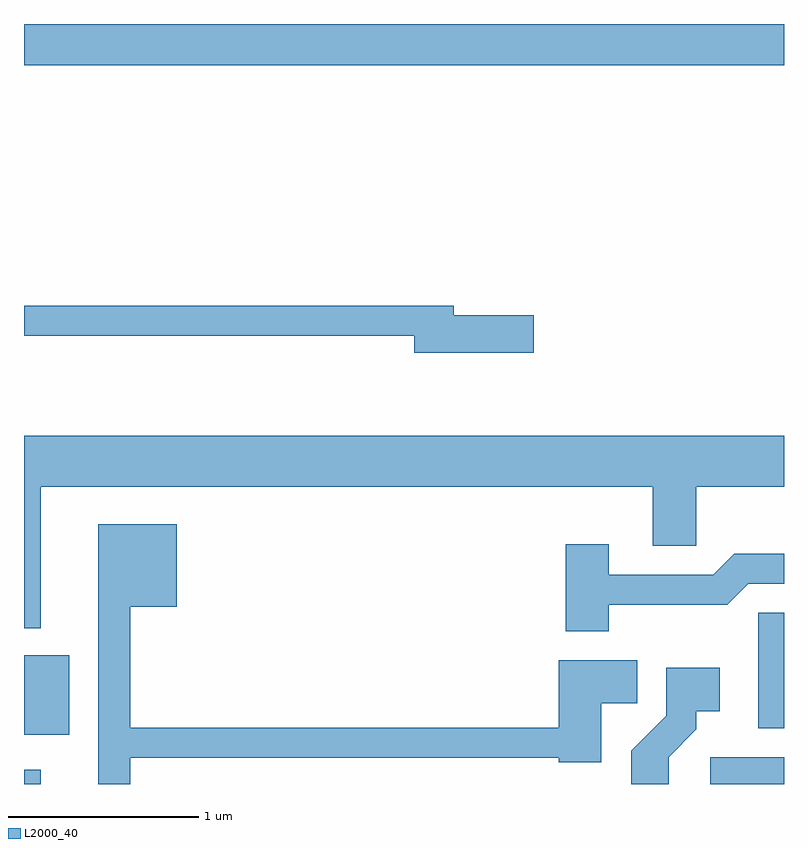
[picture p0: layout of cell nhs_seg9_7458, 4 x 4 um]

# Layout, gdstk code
import gdstk
lib = gdstk.Library(unit=1e-6, precision=1e-09)
def R(c, l, rs):  # rectangles x0, y0, x1, y1
    for r in rs: c.add(gdstk.rectangle(r[:2], r[2:], *l))
def P(c, l, *ps):  # polygons
    for p in ps: c.add(gdstk.Polygon(p, *l))
L2000_40 = (2000, 40)

nhs_seg9_7458 = lib.new_cell('nhs_seg9_7458')
R(nhs_seg9_7458, L2000_40, [(405.611,2032.432,405.699,2032.508), (409.223,2032.432,409.611,2032.574), (405.611,2032.691,405.849,2033.109), (409.476,2032.726,409.611,2033.334), (405.611,2036.216,409.611,2036.432)])
P(nhs_seg9_7458, L2000_40, [(408.294,2034.899),(407.874,2034.899),(407.874,2034.949),(405.611,2034.949),(405.611,2034.791),(407.666,2034.791),(407.666,2034.701),(408.294,2034.701)],
  [(405.699,2033.996),(408.921,2033.996),(408.921,2033.686),(409.149,2033.686),(409.149,2033.996),(409.611,2033.996),(409.611,2034.264),(405.611,2034.264),(405.611,2033.253),(405.699,2033.253)],
  [(406.169,2032.571),(408.426,2032.571),(408.426,2032.546),(408.649,2032.546),(408.649,2032.856),(408.839,2032.856),(408.839,2033.084),(408.426,2033.084),(408.426,2032.729),(406.169,2032.729),(406.169,2033.366),(406.414,2033.366),(406.414,2033.799),(406.001,2033.799),(406.001,2032.432),(406.169,2032.432)],
  [(408.689,2033.376),(409.312,2033.376),(409.422,2033.486),(409.611,2033.486),(409.611,2033.644),(409.349,2033.644),(409.239,2033.534),(408.689,2033.534),(408.689,2033.694),(408.461,2033.694),(408.461,2033.236),(408.689,2033.236)],
  [(409.004,2032.574),(409.149,2032.719),(409.149,2032.816),(409.274,2032.816),(409.274,2033.044),(408.991,2033.044),(408.991,2032.792),(408.806,2032.607),(408.806,2032.432),(409.004,2032.432)])

lib.write_gds('nhs_seg9_7458.gds')
